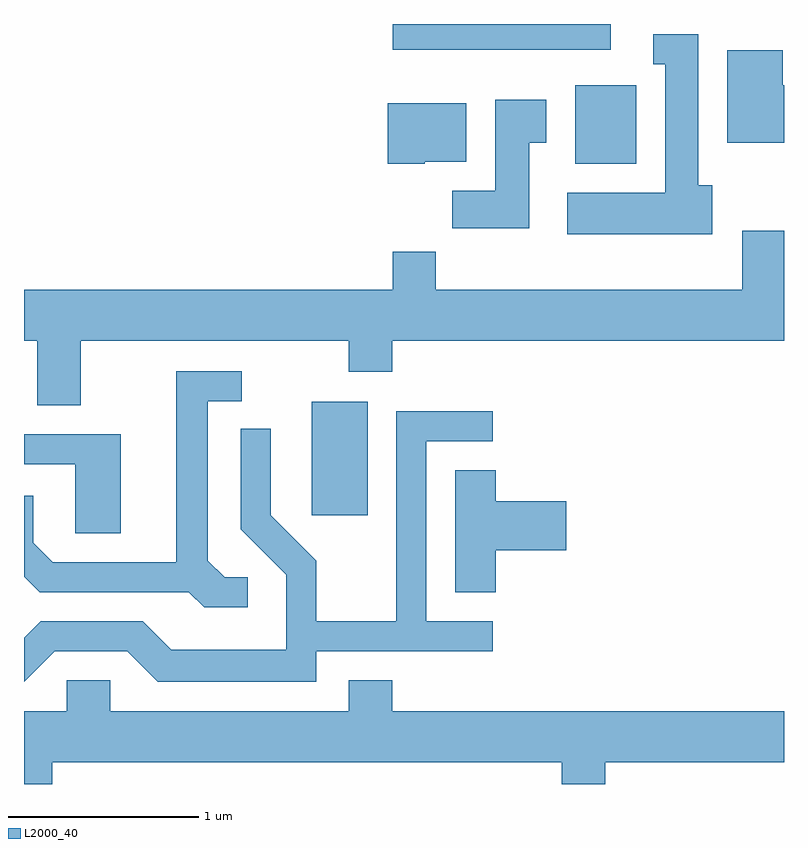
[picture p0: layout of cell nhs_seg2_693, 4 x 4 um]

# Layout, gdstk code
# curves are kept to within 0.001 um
import gdstk
lib = gdstk.Library(unit=1e-6, precision=1e-09)
def R(c, l, rs):  # rectangles x0, y0, x1, y1
    for r in rs: c.add(gdstk.rectangle(r[:2], r[2:], *l))
def P(c, l, *ps):  # polygons
    for p in ps: c.add(gdstk.Polygon(p, *l))
L2000_40 = (2000, 40)

nhs_seg2_693 = lib.new_cell('nhs_seg2_693')
R(nhs_seg2_693, L2000_40, [(207.126,1005.216,207.419,1005.814), (208.511,1007.066,208.834,1007.479), (207.551,1007.666,208.699,1007.802)])
P(nhs_seg2_693, L2000_40, [(209.234,1006.954),(209.159,1006.954),(209.159,1007.749),(208.923,1007.749),(208.923,1007.591),(208.986,1007.591),(208.986,1006.914),(208.471,1006.914),(208.471,1006.696),(209.234,1006.696)],
  [(209.611,1007.479),(209.604,1007.479),(209.604,1007.664),(209.311,1007.664),(209.311,1007.176),(209.611,1007.176)],
  [(208.269,1007.176),(208.359,1007.176),(208.359,1007.404),(208.091,1007.404),(208.091,1006.924),(207.866,1006.924),(207.866,1006.726),(208.269,1006.726)],
  [(207.72,1007.076),(207.939,1007.076),(207.939,1007.384),(207.526,1007.384),(207.526,1007.066),(207.72,1007.066)],
  [(205.909,1006.136),(207.321,1006.136),(207.321,1005.971),(207.549,1005.971),(207.549,1006.136),(209.611,1006.136),(209.611,1006.714),(209.391,1006.714),(209.391,1006.404),(207.779,1006.404),(207.779,1006.604),(207.551,1006.604),(207.551,1006.404),(205.611,1006.404),(205.611,1006.136),(205.681,1006.136),(205.681,1005.796),(205.909,1005.796)],
  [(206.788,1004.889),(206.667,1004.889),(206.579,1004.977),(206.579,1005.816),(206.758,1005.816),(206.758,1005.974),(206.411,1005.974),(206.411,1004.969),(205.762,1004.969),(205.659,1005.072),(205.659,1005.318),(205.611,1005.318),(205.611,1004.894),(205.694,1004.811),(206.479,1004.811),(206.559,1004.731),(206.788,1004.731)],
  [(205.772,1004.501),(206.154,1004.501),(206.314,1004.341),(207.149,1004.341),(207.149,1004.501),(208.078,1004.501),(208.078,1004.659),(207.729,1004.659),(207.729,1005.606),(208.078,1005.606),(208.078,1005.764),(207.571,1005.764),(207.571,1004.659),(207.149,1004.659),(207.149,1004.977),(206.909,1005.217),(206.909,1005.673),(206.751,1005.673),(206.751,1005.144),(206.991,1004.904),(206.991,1004.509),(206.387,1004.509),(206.237,1004.659),(205.699,1004.659),(205.611,1004.571),(205.612,1004.341)],
  [(206.119,1005.644),(205.611,1005.644),(205.611,1005.486),(205.881,1005.486),(205.881,1005.121),(206.119,1005.121)],
  [(208.094,1005.031),(208.464,1005.031),(208.464,1005.289),(208.094,1005.289),(208.094,1005.454),(207.881,1005.454),(207.881,1004.811),(208.094,1004.811)],
  [(205.759,1003.916),(208.441,1003.916),(208.441,1003.802),(208.669,1003.802),(208.669,1003.916),(209.611,1003.916),(209.611,1004.184),(207.549,1004.184),(207.549,1004.349),(207.321,1004.349),(207.321,1004.184),(206.064,1004.184),(206.064,1004.349),(205.836,1004.349),(205.836,1004.184),(205.611,1004.184),(205.611,1003.802),(205.759,1003.802)])

lib.write_gds('nhs_seg2_693.gds')
